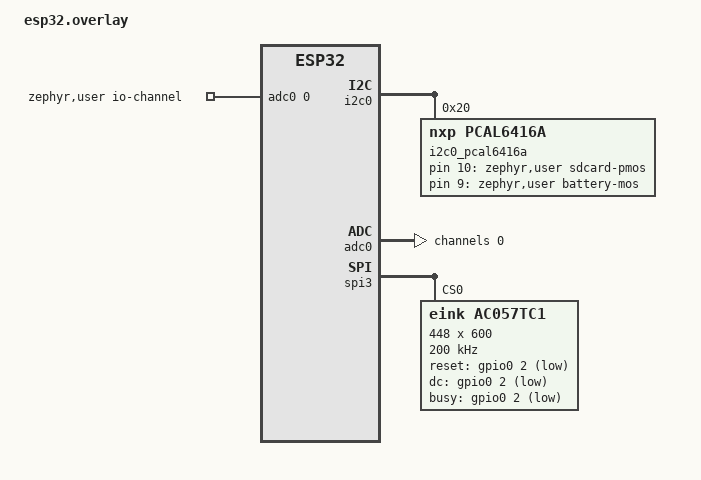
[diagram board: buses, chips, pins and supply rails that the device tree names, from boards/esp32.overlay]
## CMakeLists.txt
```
# SPDX-License-Identifier: Apache-2.0

cmake_minimum_required(VERSION 3.20.0)

macro(app_set_runner_args)
  board_runner_args(dfu-util "--dfuse-modifiers=force:mass-erase")
  board_runner_args(pyocd "--erase")
  board_runner_args(nrfjprog "--erase")
endmacro()

find_package(Zephyr REQUIRED HINTS $ENV{ZEPHYR_BASE})
project(ld2410_test)

set(CMAKE_C_FLAGS "${CMAKE_C_FLAGS} -Werror -Wall -Wextra")

target_include_directories(app PRIVATE
    src/system
    src/util
)

target_sources(app PRIVATE
  src/main.c
  src/system/battery_sys.c
)
```

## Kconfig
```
source "Kconfig.zephyr"


menu "Framez"

	menu "Battery Management"
		config BATTERY_VOLTAGE_EXTRA_SAMPLING_COUNT
			int "Battery voltage sampling count"
			default 1
			help
				Determines the amount of additional sampling done on the ADC
        
        config BATTERY_VOLTAGE_SAMPLING_INTERVAL
			int "Battery voltage sampling interval in us"
			default 5000
			help
				Determines the delay between samplings

		config BATTERY_VOLTAGE_MIN
			int "Battery voltage minimum in mV"
			default 3400
			help
				Minimum battery voltage

		config BATTERY_VOLTAGE_MAX
			int "Battery voltage maximum in mV"
			default 3700
			help
				Maximum battery voltage
	endmenu

endmenu
```

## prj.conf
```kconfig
CONFIG_LOG=y

CONFIG_GPIO=y
CONFIG_I2C=y
CONFIG_ADC=y

# ESP32 ADC driver does not support multiple samples
CONFIG_BATTERY_VOLTAGE_EXTRA_SAMPLING_COUNT=0

CONFIG_AC057TC1_DISPLAY=y
```

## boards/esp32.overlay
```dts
&i2c0 {
    status = "okay";
    i2c0_pcal6416a: pcal6416a@20 {
	    compatible = "nxp,pcal6416a";
        status = "okay";
	    reg = <0x20>;
		#gpio-cells = <2>;
	    gpio-controller;
	    ngpios = <16>;
    };
};

&adc0 {
	status = "okay";
	#address-cells = <1>;
	#size-cells = <0>;

	channel@0 {
		reg = <0>;
		zephyr,gain = "ADC_GAIN_1_2";
		zephyr,reference = "ADC_REF_INTERNAL";
		zephyr,acquisition-time = <ADC_ACQ_TIME_DEFAULT>;
		zephyr,resolution = <12>;
	};
};


&spi3 {
    status = "okay";
    pinctrl-names = "default";
    ac057tc1: ac057tc1@0 {
        status = "okay";
        compatible = "eink,ac057tc1";
        reg = <0>;
        spi-max-frequency = <200000>;
        height = <600>;
        width = <448>;

        reset-gpios = <&gpio0 2 GPIO_ACTIVE_LOW>;
        dc-gpios = <&gpio0 2 GPIO_ACTIVE_LOW>;
        busy-gpios = <&gpio0 2 GPIO_ACTIVE_LOW>;
    };
};

/ {
    chosen {
        zephyr,display = &ac057tc1;
    };

    zephyr,user {
        sdcard-pmos-gpios = <&i2c0_pcal6416a 10 GPIO_ACTIVE_HIGH>;
        battery-mos-gpios = <&i2c0_pcal6416a 9 GPIO_ACTIVE_HIGH>;
        io-channels = <&adc0 0>;
    };
};
```

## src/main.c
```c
#include <zephyr/kernel.h>
#include <zephyr/logging/log.h>
#include "battery_sys.h"
LOG_MODULE_REGISTER(app);
#include <zephyr/drivers/display.h>
const struct device* display_dev = DEVICE_DT_GET(DT_CHOSEN(zephyr_display));

void main(void)
{
    uint8_t level;

    battery_sys_init();
    battery_sys_sample(&level);
    LOG_INF("Battery Level: %u", level);


}
```
